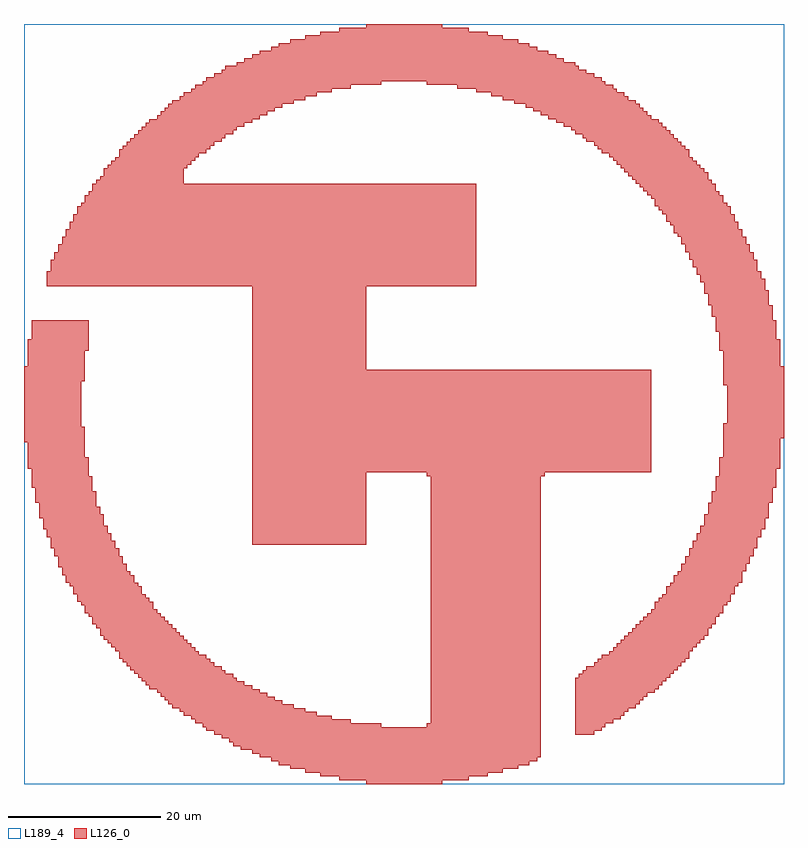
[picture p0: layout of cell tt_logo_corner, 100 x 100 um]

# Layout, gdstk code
import gdstk
lib = gdstk.Library(unit=1e-6, precision=1e-09)
def R(c, l, rs):  # rectangles x0, y0, x1, y1
    for r in rs: c.add(gdstk.rectangle(r[:2], r[2:], *l))
L126_0 = (126, 0)
L189_4 = (189, 4)

tt_logo_corner = lib.new_cell('tt_logo_corner')
R(tt_logo_corner, L126_0, [(45,0,55,0.5), (41.5,0.5,58.5,1), (39,1,61,1.5), (37,1.5,63,2), (35,2,65,2.5), (33.5,2.5,66.5,3), (32.5,3,67.5,3.5), (31,3.5,68,4), (30,4,68,4.5), (28.5,4.5,68,5), (27.5,5,68,5.5), (27,5.5,68,6), (26,6,68,6.5), (25,6.5,68,7), (72.5,6.5,75,7), (24,7,68,7.5), (72.5,7,76,7.5), (23.5,7.5,47,8), (53,7.5,68,8), (72.5,7.5,76.5,8), (22.5,8,43,8.5), (53.5,8,68,40.5), (72.5,8,77.5,8.5), (22,8.5,40.5,9), (72.5,8.5,78.5,9), (21,9,38.5,9.5), (72.5,9,79,9.5), (20.5,9.5,37,10), (72.5,9.5,79.5,10), (19.5,10,35.5,10.5), (72.5,10,80.5,10.5), (19,10.5,34,11), (72.5,10.5,81,11), (18.5,11,33,11.5), (72.5,11,81.5,11.5), (18,11.5,32,12), (72.5,11.5,82,12), (17.5,12,31,12.5), (72.5,12,83,12.5), (16.5,12.5,30,13), (72.5,12.5,83.5,13), (16,13,29,13.5), (72.5,13,84,13.5), (15.5,13.5,28,14), (72.5,13.5,84.5,14), (15,14,27.5,14.5), (73,14,85,14.5), (14.5,14.5,26.5,15), (73.5,14.5,85.5,15), (14,15,26,15.5), (74,15,86,15.5), (13.5,15.5,25,16), (75,15.5,86.5,16), (13,16,24.5,16.5), (75.5,16,87,16.5), (12.5,16.5,24,17), (76,16.5,87.5,17), (12.5,17,23,17.5), (77,17,87.5,17.5), (12,17.5,22.5,18), (77.5,17.5,88,18), (11.5,18,22,18.5), (78,18,88.5,18.5), (11,18.5,21.5,19), (78.5,18.5,89,19), (10.5,19,21,19.5), (79,19,89.5,19.5), (10,19.5,20.5,20), (79.5,19.5,90,20), (10,20,20,20.5), (80,20,90,20.5), (9.5,20.5,19.5,21), (80.5,20.5,90.5,21), (9,21,19,21.5), (81,21,91,21.5), (9,21.5,18.5,22), (81.5,21.5,91,22), (8.5,22,18,22.5), (82,22,91.5,22.5), (8,22.5,17.5,23), (82.5,22.5,92,23), (8,23,17,23.5), (83,23,92,23.5), (7.5,23.5,17,24), (83,23.5,92.5,24), (7,24,16.5,24.5), (83.5,24,93,24.5), (7,24.5,16,25), (84,24.5,93,25), (6.5,25,15.5,26), (84.5,25,93.5,26), (6,26,15,26.5), (85,26,94,26.5), (5.5,26.5,14.5,27.5), (85.5,26.5,94.5,27.5), (5,27.5,14,28), (86,27.5,94.5,28), (5,28,13.5,28.5), (86.5,28,95,29), (4.5,28.5,13.5,29), (4.5,29,13,30), (87,29,95.5,30), (4,30,12.5,31), (87.5,30,96,31), (3.5,31,12,32), (88,31,96.5,32), (30,31.5,45,41), (3.5,32,11.5,32.5), (88.5,32,96.5,32.5), (3,32.5,11.5,33), (88.5,32.5,97,33), (3,33,11,33.5), (89,33,97,33.5), (2.5,33.5,11,34), (89,33.5,97.5,34), (2.5,34,10.5,35), (89.5,34,97.5,35), (2,35,10.5,35.5), (89.5,35,98,35.5), (2,35.5,10,36.5), (90,35.5,98,37), (2,36.5,9.5,37), (1.5,37,9.5,38.5), (90.5,37,98.5,38.5), (1.5,38.5,9,39), (91,38.5,98.5,39), (1,39,9,40.5), (91,39,99,40.5), (1,40.5,8.5,41.5), (53,40.5,68.5,41), (91.5,40.5,99,41.5), (30,41,82.5,54.5), (0.5,41.5,8.5,43), (91.5,41.5,99.5,43), (0.5,43,8,45), (92,43,99.5,45.5), (0,45,8,47), (92,45.5,100,47.5), (0,47,7.5,53), (92.5,47.5,100,52.5), (92,52.5,100,55), (0,53,8,55), (30,54.5,45,65.5), (0.5,55,8,57), (92,55,99.5,57), (0.5,57,8.5,58.5), (91.5,57,99.5,58.5), (1,58.5,8.5,61), (91.5,58.5,99,59.5), (91,59.5,99,61), (91,61,98.5,61.5), (90.5,61.5,98.5,63), (90,63,98,64.5), (89.5,64.5,98,65), (89.5,65,97.5,66), (3,65.5,59.5,67.5), (89,66,97.5,66.5), (89,66.5,97,67), (88.5,67,97,67.5), (3.5,67.5,59.5,69), (88.5,67.5,96.5,68), (88,68,96.5,69), (4,69,59.5,70), (87.5,69,96,70), (4.5,70,59.5,71), (87,70,95.5,71), (5,71,59.5,72), (86.5,71,95,72), (5.5,72,59.5,73), (86,72,94.5,72.5), (85.5,72.5,94.5,73), (6,73,59.5,74), (85.5,73,94,73.5), (85,73.5,94,74), (6.5,74,59.5,75), (84.5,74,93.5,75), (7,75,59.5,76), (84,75,93,75.5), (83.5,75.5,93,76), (7.5,76,59.5,76.5), (83,76,92.5,76.5), (8,76.5,59.5,77.5), (83,76.5,92,77), (82.5,77,92,77.5), (8.5,77.5,59.5,78), (82,77.5,91.5,78), (9,78,59.5,79), (81.5,78,91,78.5), (81,78.5,91,79), (9.5,79,21,79.5), (80.5,79,90.5,79.5), (10,79.5,21,80), (80,79.5,90,80), (10.5,80,21,81), (79.5,80,90,80.5), (79,80.5,89.5,81), (11,81,21.5,81.5), (78.5,81,89,81.5), (11.5,81.5,22,82), (78,81.5,88.5,82), (12,82,22.5,82.5), (77.5,82,88,82.5), (12.5,82.5,23,83), (77,82.5,87.5,83), (12.5,83,24,83.5), (76,83,87.5,83.5), (13,83.5,24.5,84), (75.5,83.5,87,84), (13.5,84,25,84.5), (75,84,86.5,84.5), (14,84.5,26,85), (74,84.5,86,85), (14.5,85,26.5,85.5), (73.5,85,85.5,85.5), (15,85.5,27.5,86), (72.5,85.5,85,86), (15.5,86,28,86.5), (72,86,84.5,86.5), (16,86.5,29,87), (71,86.5,84,87), (16.5,87,30,87.5), (70,87,83.5,87.5), (17.5,87.5,31,88), (69,87.5,82.5,88), (18,88,32,88.5), (68,88,82,88.5), (18.5,88.5,33,89), (67,88.5,81.5,89), (19,89,34,89.5), (66,89,81,89.5), (19.5,89.5,35.5,90), (64.5,89.5,80.5,90), (20.5,90,37,90.5), (63,90,79.5,90.5), (21,90.5,38.5,91), (61.5,90.5,79,91), (22,91,40.5,91.5), (59.5,91,78,91.5), (22.5,91.5,43,92), (57,91.5,77.5,92), (23.5,92,47,92.5), (53,92,76.5,92.5), (24,92.5,76,93), (25,93,75,93.5), (26,93.5,74,94), (26.5,94,73,94.5), (28,94.5,72.5,95), (29,95,71,95.5), (30,95.5,70,96), (31,96,69,96.5), (32.5,96.5,67.5,97), (33.5,97,66.5,97.5), (35,97.5,65,98), (37,98,63,98.5), (39,98.5,61,99), (41.5,99,58.5,99.5), (45,99.5,55,100)])
R(tt_logo_corner, L189_4, [(0,0,100,100)])

lib.write_gds('tt_logo_corner.gds')
